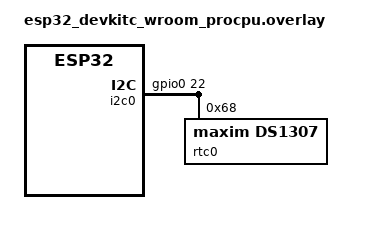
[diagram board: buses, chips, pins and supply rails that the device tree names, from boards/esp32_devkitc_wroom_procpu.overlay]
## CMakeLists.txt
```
# SPDX-License-Identifier: Apache-2.0

cmake_minimum_required(VERSION 3.20.0)
find_package(Zephyr REQUIRED HINTS $ENV{ZEPHYR_BASE})
project(ds1307)

FILE(GLOB app_sources src/*.c)
target_sources(app PRIVATE ${app_sources})
```

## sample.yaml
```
sample:
  name: DS1307 Real-Time Clock
tests:
  sample.rtc.ds1307:
    harness: rtc
    tags:
      - samples
      - sensor
    depends_on:
      - i2c
      - rtc
      - ds1307
```

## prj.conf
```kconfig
# Enable Peripheral
CONFIG_I2C=y
CONFIG_RTC=y
CONFIG_RTC_DS1307=y

# Enable SHELL
CONFIG_SHELL=n
CONFIG_I2C_SHELL=n
CONFIG_RTC_SHELL=n

# Enable Log
CONFIG_LOG=n
```

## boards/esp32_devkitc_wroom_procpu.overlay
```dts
/*
 * Copyright (c) 2024, Muhammad Waleed Badar <walid.badar@gmail.com>
 *
 * SPDX-License-Identifier: Apache-2.0
 */

&i2c0 {
	status = "okay";
	clock - frequency = <I2C_BITRATE_STANDARD>;
	sda - gpios = <&gpio0 21 GPIO_OPEN_DRAIN>;
	scl - gpios = <&gpio0 22 GPIO_OPEN_DRAIN>;
	pinctrl - 0 = <&i2c0_default>;
	pinctrl - names = "default";

rtc0: ds1307 @68 {
	compatible = "maxim,ds1307";
		reg = <0x68>;
	};
};
```

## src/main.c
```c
/*
 * Copyright (c) 2024, Muhammad Waleed Badar <walid.badar@gmail.com>
 *
 * SPDX-License-Identifier: Apache-2.0
 */

#include <stdio.h>
#include <zephyr/device.h>
#include <zephyr/drivers/rtc.h>
#include <zephyr/kernel.h>
#include <zephyr/sys/util.h>

#define RTC_NODE DT_NODELABEL(rtc0)

static int32_t set_date_time(const struct device *dev)
{
	int32_t ret = 0;
	struct rtc_time tm = {.tm_year = 2024 - 1900,
			      .tm_mon = 7 - 1,
			      .tm_mday = 28,
			      .tm_hour = 3,
			      .tm_min = 51,
			      .tm_sec = 0};

	ret = rtc_set_time(dev, &tm);
	if (ret < 0) {
		printk("Cannot write date time: %d\n", ret);
		return ret;
	}
	return ret;
}

static int32_t get_date_time(const struct device *dev)
{
	int32_t ret = 0;
	struct rtc_time tm;

	ret = rtc_get_time(dev, &tm);
	if (ret < 0) {
		printk("Cannot read date time: %d\n", ret);
		return ret;
	}

	printk("Current RTC time: %04d-%02d-%02d %02d:%02d:%02d\n", tm.tm_year + 1900,
	       tm.tm_mon + 1, tm.tm_mday, tm.tm_hour, tm.tm_min, tm.tm_sec);

	return ret;
}

int main(void)
{
	int32_t ret = 0;

	/* Get the device structure for the RTC */
	const struct device *const dev = DEVICE_DT_GET(RTC_NODE);

	/* Check if the RTC is available */
	if (dev == NULL) {
		printk("Error: no device found\n");
		return 0;
	}

	/* Check if the RTC is ready */
	if (!device_is_ready(dev)) {
		printk("Device is not ready\n");
		return 0;
	}

	/* Continuously read the current time from the RTC */
	while (1) {
		ret = get_date_time(dev);
		if (ret < 0) {
			printk("Failed to read from rtc\n");
			return 0;
		}
		k_sleep(K_MSEC(1000));
	}
	return 0;
}
```
